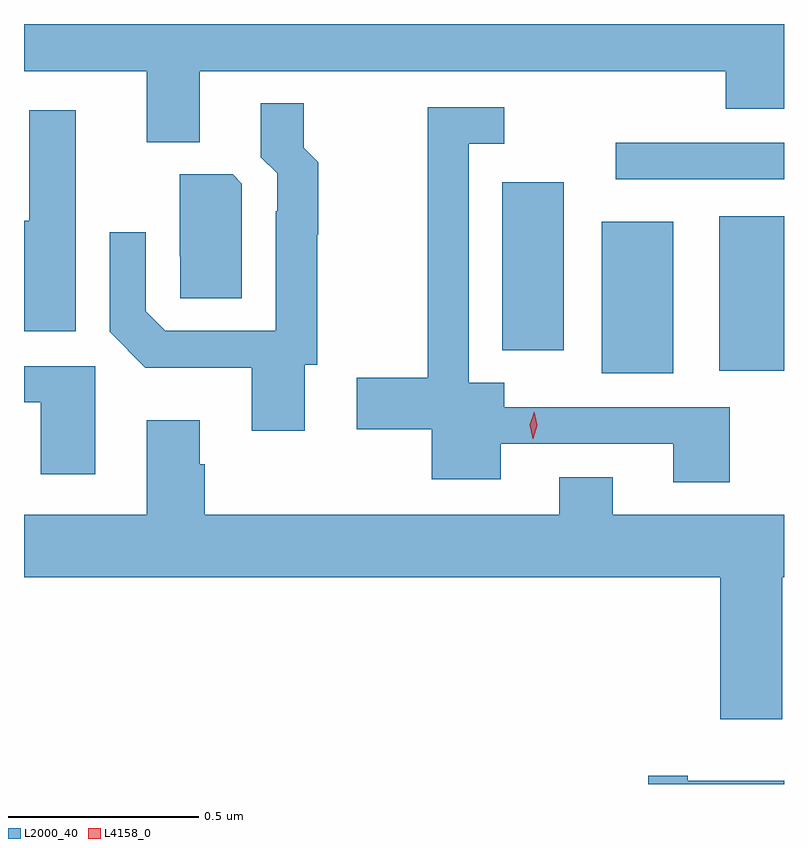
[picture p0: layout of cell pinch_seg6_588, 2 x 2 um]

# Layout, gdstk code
import gdstk
lib = gdstk.Library(unit=1e-6, precision=1e-09)
def R(c, l, rs):  # rectangles x0, y0, x1, y1
    for r in rs: c.add(gdstk.rectangle(r[:2], r[2:], *l))
def P(c, l, *ps):  # polygons
    for p in ps: c.add(gdstk.Polygon(p, *l))
L2000_40 = (2000, 40)
L4158_0 = (4158, 0)

pinch_seg6_588 = lib.new_cell('pinch_seg6_588')
R(pinch_seg6_588, L2000_40, [(584.276,965.189,584.464,965.587), (584.585,965.195,584.756,965.602), (584.015,965.249,584.176,965.692), (584.313,965.7,584.756,965.796)])
P(pinch_seg6_588, L2000_40, [(583.219,965.984),(584.603,965.984),(584.603,965.885),(584.756,965.885),(584.756,966.108),(582.756,966.108),(582.756,965.984),(583.079,965.984),(583.079,965.797),(583.219,965.797)],
  [(583.495,965.211),(583.528,965.211),(583.528,965.554),(583.53,965.554),(583.53,965.744),(583.492,965.782),(583.492,965.899),(583.379,965.899),(583.379,965.758),(583.422,965.715),(583.422,965.615),(583.419,965.615),(583.419,965.301),(583.128,965.301),(583.077,965.352),(583.077,965.56),(582.981,965.56),(582.981,965.298),(583.075,965.204),(583.355,965.204),(583.355,965.037),(583.495,965.037)],
  [(584.613,965.1),(584.02,965.1),(584.02,965.164),(583.926,965.164),(583.926,965.793),(584.02,965.793),(584.02,965.889),(583.818,965.889),(583.818,965.177),(583.632,965.177),(583.632,965.042),(583.829,965.042),(583.829,964.91),(584.011,964.91),(584.011,965.004),(584.465,965.004),(584.465,964.902),(584.613,964.902)],
  [(582.892,965.881),(582.77,965.881),(582.77,965.59),(582.756,965.59),(582.756,965.3),(582.892,965.3)],
  [(583.329,965.688),(583.305,965.712),(583.166,965.712),(583.166,965.497),(583.167,965.497),(583.167,965.386),(583.329,965.386)],
  [(582.943,965.208),(582.756,965.208),(582.756,965.112),(582.8,965.112),(582.8,964.923),(582.943,964.923)],
  [(584.752,964.652),(584.756,964.652),(584.756,964.816),(584.305,964.816),(584.305,964.915),(584.165,964.915),(584.165,964.816),(583.232,964.816),(583.232,964.949),(583.219,964.949),(583.219,965.065),(583.079,965.065),(583.079,964.816),(582.756,964.816),(582.756,964.652),(584.588,964.652),(584.588,964.278),(584.752,964.278)],
  [(584.756,964.117),(584.503,964.117),(584.503,964.13),(584.399,964.13),(584.399,964.108),(584.756,964.108)])
P(pinch_seg6_588, L4158_0, [(584.095,965.017),(584.095,965.017),(584.087,965.053),(584.099,965.088),(584.099,965.088),(584.099,965.088),(584.107,965.052),(584.096,965.017)])

lib.write_gds('pinch_seg6_588.gds')
